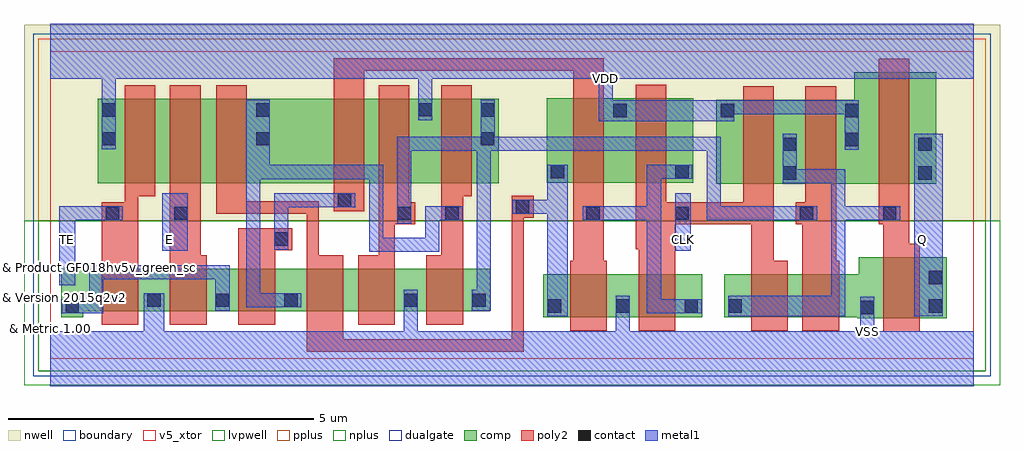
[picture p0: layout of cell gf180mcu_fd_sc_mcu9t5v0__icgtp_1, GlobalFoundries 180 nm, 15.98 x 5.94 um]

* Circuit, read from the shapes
.subckt gf180mcu_fd_sc_mcu9t5v0__icgtp_1 CLK E Q TE VDD VSS
XM1 VSS TE n1 VSUBS nfet_05v0 w=0.7u l=0.6u
XM2 n1 E VSS VSUBS nfet_05v0 w=0.7u l=0.6u
XM3 n2 n3 n1 VSUBS nfet_05v0 w=0.7u l=0.6u
XM4 n4 n5 n2 VSUBS nfet_05v0 w=0.7u l=0.6u
XM5 VSS n6 n4 VSUBS nfet_05v0 w=0.7u l=0.6u
XM6 n6 n2 VSS VSUBS nfet_05v0 w=0.7u l=0.6u
XM7 VSS n3 n5 VSUBS nfet_05v0 w=0.7u l=0.6u
XM8 n3 CLK VSS VSUBS nfet_05v0 w=0.7u l=0.6u
XM9 n7 CLK n8 VSUBS nfet_05v0 w=0.7u l=0.6u
XM10 VSS n6 n7 VSUBS nfet_05v0 w=0.7u l=0.6u
XM11 Q n8 VSS VSUBS nfet_05v0 w=1u l=0.6u
XM12 n9 TE VDD n10 pfet_05v0 w=1.38u l=0.5u
XM13 n11 E n9 n10 pfet_05v0 w=1.38u l=0.5u
XM14 n2 n5 n11 n10 pfet_05v0 w=1.38u l=0.5u
XM15 n12 n3 n2 n10 pfet_05v0 w=1.38u l=0.5u
XM16 VDD n6 n12 n10 pfet_05v0 w=1.38u l=0.5u
XM17 n6 n2 VDD n10 pfet_05v0 w=1.38u l=0.5u
XM18 VDD n3 n5 n10 pfet_05v0 w=1.38u l=0.5u
XM19 n3 CLK VDD n10 pfet_05v0 w=1.38u l=0.5u
XM20 n8 CLK VDD n10 pfet_05v0 w=1.38u l=0.5u
XM21 VDD n6 n8 n10 pfet_05v0 w=1.38u l=0.5u
XM22 Q n8 VDD n10 pfet_05v0 w=1.83u l=0.5u
.ends

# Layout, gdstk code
import gdstk
lib = gdstk.Library(unit=1e-6, precision=1e-09)
def R(c, l, rs):  # rectangles x0, y0, x1, y1
    for r in rs: c.add(gdstk.rectangle(r[:2], r[2:], *l))
def A(c, l, x, y, w, h, nx, ny, dx, dy):  # array of equal rectangles
    R(c, l, [(x+i*dx, y+j*dy, x+i*dx+w, y+j*dy+h) for i in range(nx) for j in range(ny)])
def P(c, l, *ps):  # polygons
    for p in ps: c.add(gdstk.Polygon(p, *l))
boundary = (0, 0)
nwell = (21, 0)
comp = (22, 0)
poly2 = (30, 0)
pplus = (31, 0)
nplus = (32, 0)
contact = (33, 0)
metal1 = (34, 0)
dualgate = (55, 0)
v5_xtor = (112, 1)
lvpwell = (204, 0)

gf180mcu_fd_sc_mcu9t5v0_ = lib.new_cell('gf180mcu_fd_sc_mcu9t5v0__icgtp_1')
R(gf180mcu_fd_sc_mcu9t5v0_, boundary, [(0,0,15.12,5.04)])
R(gf180mcu_fd_sc_mcu9t5v0_, nwell, [(-0.43,2.265,15.55,5.47)])
R(gf180mcu_fd_sc_mcu9t5v0_, comp, [(8.075,0.685,10.675,1.385), (0.78,2.88,7.34,4.26), (8.125,2.885,10.525,4.265)])
P(gf180mcu_fd_sc_mcu9t5v0_, comp, [(0.18,0.685),(0.18,1.48),(7.2,1.48),(7.2,0.78),(0.54,0.78),(0.54,0.685)],
  [(10.905,2.865),(10.905,4.245),(13.165,4.245),(13.165,4.695),(14.505,4.695),(14.505,2.865)],
  [(13.215,0.665),(13.215,0.685),(11.035,0.685),(11.035,1.385),(13.235,1.385),(13.235,1.665),(14.675,1.665),(14.675,0.665)])
P(gf180mcu_fd_sc_mcu9t5v0_, poly2, [(0.84,0.56),(0.84,2.565),(1.22,2.565),(1.22,4.48),(1.72,4.48),(1.72,2.66),(1.44,2.66),(1.44,0.56)],
  [(1.96,0.56),(1.96,4.48),(2.46,4.48),(2.46,1.7),(2.56,1.7),(2.56,0.56)],
  [(3.08,0.56),(3.08,2.14),(3.96,2.14),(3.96,1.78),(3.68,1.78),(3.68,0.56)],
  [(5.04,0.56),(5.04,1.7),(5.38,1.7),(5.38,4.48),(5.88,4.48),(5.88,2.565),(5.975,2.565),(5.975,2.205),(5.64,2.205),(5.64,0.56)],
  [(6.16,0.56),(6.16,1.7),(6.4,1.7),(6.4,4.48),(6.9,4.48),(6.9,2.66),(6.76,2.66),(6.76,0.56)],
  [(4.2,0.12),(4.2,2.38),(2.72,2.38),(2.72,4.48),(3.22,4.48),(3.22,2.58),(4.4,2.58),(4.4,1.7),(4.8,1.7),(4.8,0.32),(7.555,0.32),(7.555,2.67),(7.915,2.67),(7.915,2.31),(7.755,2.31),(7.755,0.12)],
  [(8.515,0.465),(8.515,1.605),(8.565,1.605),(8.565,4.72),(5.14,4.72),(5.14,2.42),(4.64,2.42),(4.64,4.92),(9.065,4.92),(9.065,1.605),(9.115,1.605),(9.115,0.465)],
  [(9.635,0.465),(9.635,1.795),(9.585,1.795),(9.585,4.485),(10.085,4.485),(10.085,2.565),(11.345,2.565),(11.345,4.465),(11.845,4.465),(11.845,1.605),(12.075,1.605),(12.075,0.465),(11.475,0.465),(11.475,2.205),(10.235,2.205),(10.235,0.465)],
  [(12.315,0.465),(12.315,2.205),(12.205,2.205),(12.205,2.565),(12.365,2.565),(12.365,4.465),(12.865,4.465),(12.865,1.605),(12.915,1.605),(12.915,0.465)],
  [(13.635,0.445),(13.635,2.205),(13.565,2.205),(13.565,4.915),(14.065,4.915),(14.065,1.885),(14.235,1.885),(14.235,0.445)])
R(gf180mcu_fd_sc_mcu9t5v0_, pplus, [(-0.2,2.265,15.32,5.24)])
R(gf180mcu_fd_sc_mcu9t5v0_, nplus, [(-0.2,-0.2,15.32,2.265)])
A(gf180mcu_fd_sc_mcu9t5v0_, contact, 8.145, 0.755, 0.22, 0.22, 3, 1, 1.12, 0)
A(gf180mcu_fd_sc_mcu9t5v0_, contact, 1.59, 0.85, 0.22, 0.22, 3, 1, 1.12, 0)
R(gf180mcu_fd_sc_mcu9t5v0_, contact, [(13.265,0.735,13.485,0.955), (0.25,0.755,0.47,0.975), (11.105,0.755,11.325,0.975), (14.385,0.755,14.605,0.975), (5.79,0.85,6.01,1.07), (6.91,0.85,7.13,1.07), (14.385,1.225,14.605,1.445), (3.67,1.85,3.89,2.07), (0.91,2.275,1.13,2.495), (2.03,2.275,2.25,2.495), (5.685,2.275,5.905,2.495), (6.47,2.275,6.69,2.495), (8.775,2.275,8.995,2.495), (10.235,2.275,10.455,2.495), (12.275,2.275,12.495,2.495), (13.635,2.275,13.855,2.495), (7.625,2.38,7.845,2.6), (4.71,2.49,4.93,2.71), (11.995,2.935,12.215,3.155), (14.215,2.935,14.435,3.155), (8.195,2.955,8.415,3.175), (10.235,2.955,10.455,3.175), (11.995,3.405,12.215,3.625), (14.215,3.405,14.435,3.625), (13.015,3.485,13.235,3.705), (0.85,3.495,1.07,3.715), (3.37,3.495,3.59,3.715), (7.05,3.495,7.27,3.715), (9.215,3.955,9.435,4.175), (10.975,3.955,11.195,4.175), (13.015,3.955,13.235,4.175), (0.85,3.965,1.07,4.185), (3.37,3.965,3.59,4.185), (7.05,3.965,7.27,4.185), (6.03,3.97,6.25,4.19)])
R(gf180mcu_fd_sc_mcu9t5v0_, metal1, [(14.15,0.695,14.61,3.685), (1.83,1.77,2.255,2.71), (10.23,1.77,10.49,2.71)])
P(gf180mcu_fd_sc_mcu9t5v0_, metal1, [(0.15,1.21),(0.15,2.5),(1.19,2.5),(1.19,2.27),(0.41,2.27),(0.41,1.21)],
  [(0.19,0.75),(0.19,0.98),(0.64,0.98),(0.64,1.535),(2.935,1.535),(2.935,0.79),(2.705,0.79),(2.705,1.305),(0.87,1.305),(0.87,0.75)],
  [(3.665,1.79),(3.665,2.715),(4.99,2.715),(4.99,2.485),(3.895,2.485),(3.895,1.79)],
  [(3.205,0.845),(3.205,4.245),(3.595,4.245),(3.595,3.175),(5.45,3.175),(5.45,1.985),(6.14,1.985),(6.14,2.5),(6.75,2.5),(6.75,2.27),(6.37,2.27),(6.37,1.755),(5.22,1.755),(5.22,2.945),(3.435,2.945),(3.435,1.075),(4.11,1.075),(4.11,0.845)],
  [(8.14,0.695),(8.14,2.375),(7.565,2.375),(7.565,2.605),(8.135,2.605),(8.135,3.18),(8.475,3.18),(8.475,0.695)],
  [(9.77,0.75),(9.77,2.27),(8.715,2.27),(8.715,2.5),(9.77,2.5),(9.77,3.18),(10.515,3.18),(10.515,2.95),(10,2.95),(10,0.98),(10.665,0.98),(10.665,0.75)],
  [(6.905,0.79),(6.905,1.13),(6.98,1.13),(6.98,3.41),(5.91,3.41),(5.91,2.215),(5.68,2.215),(5.68,3.64),(7.045,3.64),(7.045,4.245),(7.275,4.245),(7.275,3.64),(10.975,3.64),(10.975,2.5),(12.555,2.5),(12.555,2.27),(10.745,2.27),(10.745,3.41),(7.21,3.41),(7.21,0.79)],
  [(11.1,0.695),(11.1,1.035),(12.785,1.035),(12.785,2.875),(11.99,2.875),(11.99,3.685),(12.22,3.685),(12.22,3.105),(13.015,3.105),(13.015,2.5),(13.915,2.5),(13.915,2.27),(13.015,2.27),(13.015,0.695)],
  [(0,-0.45),(0,0.45),(1.53,0.45),(1.53,1.075),(1.87,1.075),(1.87,0.45),(5.785,0.45),(5.785,1.13),(6.015,1.13),(6.015,0.45),(9.26,0.45),(9.26,1.035),(9.49,1.035),(9.49,0.45),(13.26,0.45),(13.26,1.015),(13.49,1.015),(13.49,0.45),(15.12,0.45),(15.12,-0.45)],
  [(13.01,3.425),(13.01,4.005),(11.2,4.005),(11.2,3.895),(8.98,3.895),(8.98,4.59),(6.255,4.59),(6.255,3.91),(6.025,3.91),(6.025,4.59),(1.075,4.59),(1.075,3.435),(0.845,3.435),(0.845,4.59),(0,4.59),(0,5.49),(15.12,5.49),(15.12,4.59),(9.21,4.59),(9.21,4.235),(13.24,4.235),(13.24,3.425)])
R(gf180mcu_fd_sc_mcu9t5v0_, dualgate, [(-0.28,-0.28,15.4,5.32)])
R(gf180mcu_fd_sc_mcu9t5v0_, v5_xtor, [(0,0,15.12,5.04)])
R(gf180mcu_fd_sc_mcu9t5v0_, lvpwell, [(-0.43,-0.43,15.55,2.265)])
gf180mcu_fd_sc_mcu9t5v0_.add(gdstk.Label('CLK', (10.36,1.96), layer=34, texttype=10))
gf180mcu_fd_sc_mcu9t5v0_.add(gdstk.Label('E', (1.96,1.96), layer=34, texttype=10))
gf180mcu_fd_sc_mcu9t5v0_.add(gdstk.Label('Q', (14.28,1.96), layer=34, texttype=10))
gf180mcu_fd_sc_mcu9t5v0_.add(gdstk.Label('TE', (0.28,1.96), layer=34, texttype=10))
gf180mcu_fd_sc_mcu9t5v0_.add(gdstk.Label('VDD', (9.095,4.585), layer=34, texttype=10))
gf180mcu_fd_sc_mcu9t5v0_.add(gdstk.Label('VSS', (13.375,0.45), layer=34, texttype=10))
gf180mcu_fd_sc_mcu9t5v0_.add(gdstk.Label('& Vendor GLOBALFOUNDRIES', (0,2), layer=63, texttype=63))
gf180mcu_fd_sc_mcu9t5v0_.add(gdstk.Label('& Product GF018hv5v_green_sc9', (0,1.5), layer=63, texttype=63))
gf180mcu_fd_sc_mcu9t5v0_.add(gdstk.Label('& Version 2015q2v2', (0,1), layer=63, texttype=63))
gf180mcu_fd_sc_mcu9t5v0_.add(gdstk.Label('& Metric 1.00', (0,0.5), layer=63, texttype=63))

lib.write_gds('gf180mcu_fd_sc_mcu9t5v0__icgtp_1.gds')
